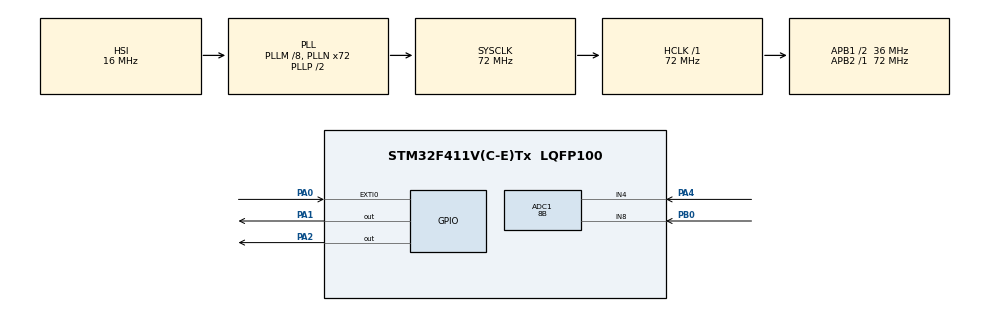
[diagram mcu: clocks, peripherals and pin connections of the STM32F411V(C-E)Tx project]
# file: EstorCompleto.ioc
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ADC1.Channel-0\#ChannelRegularConversion=ADC_CHANNEL_4
ADC1.Channel-1\#ChannelRegularConversion=ADC_CHANNEL_8
ADC1.ContinuousConvMode=ENABLE
ADC1.DMAContinuousRequests=ENABLE
ADC1.NbrOfConversion=2
ADC1.NbrOfConversionFlag=1
ADC1.Rank-0\#ChannelRegularConversion=1
ADC1.Rank-1\#ChannelRegularConversion=2
ADC1.Resolution=ADC_RESOLUTION_8B
ADC1.SamplingTime-0\#ChannelRegularConversion=ADC_SAMPLETIME_480CYCLES
ADC1.SamplingTime-1\#ChannelRegularConversion=ADC_SAMPLETIME_480CYCLES
ADC1.ScanConvMode=ENABLE
ADC1.master=1
Dma.ADC1.0.Direction=DMA_PERIPH_TO_MEMORY
Dma.ADC1.0.FIFOMode=DMA_FIFOMODE_DISABLE
Dma.ADC1.0.Instance=DMA2_Stream0
Dma.ADC1.0.MemDataAlignment=DMA_MDATAALIGN_WORD
Dma.ADC1.0.MemInc=DMA_MINC_ENABLE
Dma.ADC1.0.Mode=DMA_CIRCULAR
Dma.ADC1.0.PeriphDataAlignment=DMA_PDATAALIGN_WORD
Dma.ADC1.0.PeriphInc=DMA_PINC_DISABLE
Dma.ADC1.0.Priority=DMA_PRIORITY_LOW
Dma.Request0=ADC1
Mcu.Family=STM32F4
Mcu.Name=STM32F411V(C-E)Tx
Mcu.Package=LQFP100
NVIC.ADC_IRQn=true\:0\:0\:false\:false\:true\:true\:true\:true
NVIC.DMA2_Stream0_IRQn=true\:0\:0\:false\:false\:true\:false\:true\:true
NVIC.EXTI0_IRQn=true\:0\:0\:false\:false\:true\:true\:true\:true
NVIC.PriorityGroup=NVIC_PRIORITYGROUP_0
PA0-WKUP.Signal=GPXTI0
PA1.Signal=GPIO_Output
PA2.Signal=GPIO_Output
PA4.Signal=ADCx_IN4
PB0.Signal=ADCx_IN8
PH0\ -\ OSC_IN.Mode=HSE-External-Oscillator
PH0\ -\ OSC_IN.Signal=RCC_OSC_IN
PH1\ -\ OSC_OUT.Mode=HSE-External-Oscillator
PH1\ -\ OSC_OUT.Signal=RCC_OSC_OUT
ProjectManager.HeapSize=0x200
ProjectManager.StackSize=0x400
ProjectManager.TargetToolchain=STM32CubeIDE
RCC.48MHZClocksFreq_Value=18000000
RCC.AHBFreq_Value=72000000
RCC.APB1CLKDivider=RCC_HCLK_DIV2
RCC.APB1Freq_Value=36000000
RCC.APB1TimFreq_Value=72000000
RCC.APB2Freq_Value=72000000
RCC.APB2TimFreq_Value=72000000
RCC.CortexFreq_Value=72000000
RCC.HCLKFreq_Value=72000000
RCC.HSE_VALUE=8000000
RCC.HSI_VALUE=16000000
RCC.LSE_VALUE=32768
RCC.PLLI2SM=5
RCC.PLLI2SN=200
RCC.PLLM=8
RCC.PLLN=72
RCC.PLLQ=8
RCC.SYSCLKFreq_VALUE=72000000
RCC.SYSCLKSource=RCC_SYSCLKSOURCE_PLLCLK
RCC.VCOOutputFreq_Value=144000000
SH.ADCx_IN4.0=ADC1_IN4,IN4
SH.ADCx_IN8.0=ADC1_IN8,IN8
TIM1.Period=50
TIM1.Prescaler=71
VP_TIM1_VS_ClockSourceINT.Mode=Internal
board=STM32F411E-DISCO

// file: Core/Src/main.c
/* USER CODE BEGIN Header */
/**
  ******************************************************************************
  * @file           : main.c
  * @brief          : Main program body
  ******************************************************************************
  * @attention
  *
  * Copyright (c) 2023 STMicroelectronics.
  * All rights reserved.
  *
  * This software is licensed under terms that can be found in the LICENSE file
  * in the root directory of this software component.
  * If no LICENSE file comes with this software, it is provided AS-IS.
  *
  ******************************************************************************
  */
/* USER CODE END Header */
#include "main.h"

ADC_HandleTypeDef hadc1;
DMA_HandleTypeDef hdma_adc1;

TIM_HandleTypeDef htim1;

void SystemClock_Config(void);
static void MX_GPIO_Init(void);
static void MX_DMA_Init(void);
static void MX_ADC1_Init(void);
static void MX_TIM1_Init(void);

/* USER CODE BEGIN 0 */
#define DIR_PIN GPIO_PIN_1
#define DIR_PORT GPIOA
#define STEP_PIN GPIO_PIN_2
#define STEP_PORT GPIOA

int32_t ADC_luz;
int32_t ADC_sharp;
int32_t ADC_potenciometro;

uint16_t y_recogido = 0; //posicion inicial
uint16_t y_extendido = 510; //maxima extension del estor
uint16_t max_potenciometro = 255;

volatile uint16_t y = 0;
volatile uint16_t posicion = 0;

volatile int button_int = 0;

uint32_t adcvalue[2], adcbuffer[2];

/*void microDelay (uint16_t delay)
{
  __HAL_TIM_SET_COUNTER(&htim1, 0);
  while (__HAL_TIM_GET_COUNTER(&htim1) < delay);
}*/

void step (int steps, uint8_t direction, uint16_t delay)
{
  int x;
  if (direction == 0)
    HAL_GPIO_WritePin(DIR_PORT, DIR_PIN, GPIO_PIN_SET);
  else
    HAL_GPIO_WritePin(DIR_PORT, DIR_PIN, GPIO_PIN_RESET);
  for(x=0; x<steps; x=x+1)
  {
    HAL_GPIO_WritePin(STEP_PORT, STEP_PIN, GPIO_PIN_SET);
    //microDelay(delay);
    HAL_Delay(delay);
    HAL_GPIO_WritePin(STEP_PORT, STEP_PIN, GPIO_PIN_RESET);
    //microDelay(delay);
    HAL_Delay(delay);
  }
}

int debouncer(volatile int* button_in, GPIO_TypeDef* GPIO_port, uint16_t GPIO_number){
	static uint8_t button_count=0;
	static int counter=0;

	if (*button_in==1){
		if (button_count==0) {
			counter=HAL_GetTick();
			button_count++;
		}
		if (HAL_GetTick()-counter>=20){
			counter=HAL_GetTick();
			if (HAL_GPIO_ReadPin(GPIO_port, GPIO_number)!=1){
				button_count=1;
			}
			else{
				button_count++;
			}
			if (button_count==4){ //Periodo antirebotes
				button_count=0;
				*button_in=0;
				return 1;
			}
		}
	}
	return 0;
}

int getPotenciometro(uint16_t pot){
	int altura, tramo;
	altura = (int)(pot * y_extendido) / max_potenciometro ;
	tramo = altura/51; //tramos de 17
	altura = tramo * 51;
	return altura;
}

void HAL_ADC_ConvCpltCallback (ADC_HandleTypeDef * hadc){

	if (hadc->Instance == ADC1){
		adcvalue[0]=adcbuffer[0];
		adcvalue[1]=adcbuffer[1];
  	  	ADC_luz = adcvalue[0];
  	  	ADC_potenciometro = adcvalue[1];
  	  	y = getPotenciometro(ADC_potenciometro);
	}
}

void HAL_GPIO_EXTI_Callback(uint16_t GPIO_Pin){

	if (GPIO_Pin==GPIO_PIN_0)
	{
		//if (debouncer(&button_int, GPIOA, GPIO_PIN_0)){
			button_int++;
		//}
	}
}
/* USER CODE END 0 */

int main(void)
{

  /* MCU Configuration--------------------------------------------------------*/

  /* Reset of all peripherals, Initializes the Flash interface and the Systick. */
  HAL_Init();

  /* Configure the system clock */
  SystemClock_Config();

  /* Initialize all configured peripherals */
  MX_GPIO_Init();
  MX_DMA_Init();
  MX_ADC1_Init();
  MX_TIM1_Init();
  /* USER CODE BEGIN 2 */
  HAL_ADC_Start_DMA(&hadc1, adcbuffer, 2);
  /* USER CODE END 2 */

  /* Infinite loop */
  /* USER CODE BEGIN WHILE */
  while (1)
  {
	  if (button_int % 2 == 0){
		  if (ADC_luz > 70){
		  	  	  		while (posicion < y_extendido){
		  	  	  			step(1, 0, 1); // 1 paso horario
		  	  	  			//HAL_Delay(10);
		  	  	  			posicion ++;
		  	  	  		}
		  	  	  	}
		  	  	  	else if (ADC_luz < 50) {
		  	  	  		while (posicion > y_recogido){
		  	  	  			step(1, 1, 1); // 1 paso antihorario
		  	  	  			//HAL_Delay(10);
		  	  	  			posicion --;
		  	  	  		}
		  	  	  	}
	  }
	  else if (button_int % 2 == 1){
		  	  if (y > posicion) {
		  		  while (posicion < y) {
		  			  step(1, 0, 1); // 1 paso horario
		  			  //HAL_Delay(10);
		  			  posicion++;
		  		  }
		  	  }
		  	  else if (y < posicion) {
		  		  while (posicion > y) {
		  			  step(1, 1, 1); // 1 paso antihorario
		  			  //HAL_Delay(10);
		  			  posicion--;
		  		  }
		  	  }
	  }

    /* USER CODE END WHILE */

  }
}

void SystemClock_Config(void)
{
  RCC_OscInitTypeDef RCC_OscInitStruct = {0};
  RCC_ClkInitTypeDef RCC_ClkInitStruct = {0};

  /** Configure the main internal regulator output voltage
  */
  __HAL_RCC_PWR_CLK_ENABLE();
  __HAL_PWR_VOLTAGESCALING_CONFIG(PWR_REGULATOR_VOLTAGE_SCALE1);

  /** Initializes the RCC Oscillators according to the specified parameters
  * in the RCC_OscInitTypeDef structure.
  */
  RCC_OscInitStruct.OscillatorType = RCC_OSCILLATORTYPE_HSI;
  RCC_OscInitStruct.HSIState = RCC_HSI_ON;
  RCC_OscInitStruct.HSICalibrationValue = RCC_HSICALIBRATION_DEFAULT;
  RCC_OscInitStruct.PLL.PLLState = RCC_PLL_ON;
  RCC_OscInitStruct.PLL.PLLSource = RCC_PLLSOURCE_HSI;
  RCC_OscInitStruct.PLL.PLLM = 8;
  RCC_OscInitStruct.PLL.PLLN = 72;
  RCC_OscInitStruct.PLL.PLLP = RCC_PLLP_DIV2;
  RCC_OscInitStruct.PLL.PLLQ = 8;
  if (HAL_RCC_OscConfig(&RCC_OscInitStruct) != HAL_OK)
  {
    Error_Handler();
  }

  /** Initializes the CPU, AHB and APB buses clocks
  */
  RCC_ClkInitStruct.ClockType = RCC_CLOCKTYPE_HCLK|RCC_CLOCKTYPE_SYSCLK
                              |RCC_CLOCKTYPE_PCLK1|RCC_CLOCKTYPE_PCLK2;
  RCC_ClkInitStruct.SYSCLKSource = RCC_SYSCLKSOURCE_PLLCLK;
  RCC_ClkInitStruct.AHBCLKDivider = RCC_SYSCLK_DIV1;
  RCC_ClkInitStruct.APB1CLKDivider = RCC_HCLK_DIV2;
  RCC_ClkInitStruct.APB2CLKDivider = RCC_HCLK_DIV1;

  if (HAL_RCC_ClockConfig(&RCC_ClkInitStruct, FLASH_LATENCY_2) != HAL_OK)
  {
    Error_Handler();
  }
}

static void MX_ADC1_Init(void)
{

  ADC_ChannelConfTypeDef sConfig = {0};

  /** Configure the global features of the ADC (Clock, Resolution, Data Alignment and number of conversion)
  */
  hadc1.Instance = ADC1;
  hadc1.Init.ClockPrescaler = ADC_CLOCK_SYNC_PCLK_DIV2;
  hadc1.Init.Resolution = ADC_RESOLUTION_8B;
  hadc1.Init.ScanConvMode = ENABLE;
  hadc1.Init.ContinuousConvMode = ENABLE;
  hadc1.Init.DiscontinuousConvMode = DISABLE;
  hadc1.Init.ExternalTrigConvEdge = ADC_EXTERNALTRIGCONVEDGE_NONE;
  hadc1.Init.ExternalTrigConv = ADC_SOFTWARE_START;
  hadc1.Init.DataAlign = ADC_DATAALIGN_RIGHT;
  hadc1.Init.NbrOfConversion = 2;
  hadc1.Init.DMAContinuousRequests = ENABLE;
  hadc1.Init.EOCSelection = ADC_EOC_SINGLE_CONV;
  if (HAL_ADC_Init(&hadc1) != HAL_OK)
  {
    Error_Handler();
  }

  /** Configure for the selected ADC regular channel its corresponding rank in the sequencer and its sample time.
  */
  sConfig.Channel = ADC_CHANNEL_4;
  sConfig.Rank = 1;
  sConfig.SamplingTime = ADC_SAMPLETIME_480CYCLES;
  if (HAL_ADC_ConfigChannel(&hadc1, &sConfig) != HAL_OK)
  {
    Error_Handler();
  }

  /** Configure for the selected ADC regular channel its corresponding rank in the sequencer and its sample time.
  */
  sConfig.Channel = ADC_CHANNEL_8;
  sConfig.Rank = 2;
  if (HAL_ADC_ConfigChannel(&hadc1, &sConfig) != HAL_OK)
  {
    Error_Handler();
  }
  /* USER CODE BEGIN ADC1_Init 2 */
  //HAL_ADC_Start_DMA(&hadc1, adcbuffer, 2);
  /* USER CODE END ADC1_Init 2 */

}

static void MX_TIM1_Init(void)
{

  TIM_ClockConfigTypeDef sClockSourceConfig = {0};
  TIM_MasterConfigTypeDef sMasterConfig = {0};

  htim1.Instance = TIM1;
  htim1.Init.Prescaler = 71;
  htim1.Init.CounterMode = TIM_COUNTERMODE_UP;
  htim1.Init.Period = 50;
  htim1.Init.ClockDivision = TIM_CLOCKDIVISION_DIV1;
  htim1.Init.RepetitionCounter = 0;
  htim1.Init.AutoReloadPreload = TIM_AUTORELOAD_PRELOAD_DISABLE;
  if (HAL_TIM_Base_Init(&htim1) != HAL_OK)
  {
    Error_Handler();
  }
  sClockSourceConfig.ClockSource = TIM_CLOCKSOURCE_INTERNAL;
  if (HAL_TIM_ConfigClockSource(&htim1, &sClockSourceConfig) != HAL_OK)
  {
    Error_Handler();
  }
  sMasterConfig.MasterOutputTrigger = TIM_TRGO_RESET;
  sMasterConfig.MasterSlaveMode = TIM_MASTERSLAVEMODE_DISABLE;
  if (HAL_TIMEx_MasterConfigSynchronization(&htim1, &sMasterConfig) != HAL_OK)
  {
    Error_Handler();
  }

}

static void MX_DMA_Init(void)
{

  /* DMA controller clock enable */
  __HAL_RCC_DMA2_CLK_ENABLE();

  /* DMA interrupt init */
  /* DMA2_Stream0_IRQn interrupt configuration */
  HAL_NVIC_SetPriority(DMA2_Stream0_IRQn, 0, 0);
  HAL_NVIC_EnableIRQ(DMA2_Stream0_IRQn);

}

static void MX_GPIO_Init(void)
{
  GPIO_InitTypeDef GPIO_InitStruct = {0};

  /* GPIO Ports Clock Enable */
  __HAL_RCC_GPIOH_CLK_ENABLE();
  __HAL_RCC_GPIOA_CLK_ENABLE();
  __HAL_RCC_GPIOB_CLK_ENABLE();

  /*Configure GPIO pin Output Level */
  HAL_GPIO_WritePin(GPIOA, GPIO_PIN_1|GPIO_PIN_2, GPIO_PIN_RESET);

  /*Configure GPIO pin : PA0 */
  GPIO_InitStruct.Pin = GPIO_PIN_0;
  GPIO_InitStruct.Mode = GPIO_MODE_IT_RISING;
  GPIO_InitStruct.Pull = GPIO_NOPULL;
  HAL_GPIO_Init(GPIOA, &GPIO_InitStruct);

  /*Configure GPIO pins : PA1 PA2 */
  GPIO_InitStruct.Pin = GPIO_PIN_1|GPIO_PIN_2;
  GPIO_InitStruct.Mode = GPIO_MODE_OUTPUT_PP;
  GPIO_InitStruct.Pull = GPIO_NOPULL;
  GPIO_InitStruct.Speed = GPIO_SPEED_FREQ_LOW;
  HAL_GPIO_Init(GPIOA, &GPIO_InitStruct);

  /* EXTI interrupt init*/
  HAL_NVIC_SetPriority(EXTI0_IRQn, 0, 0);
  HAL_NVIC_EnableIRQ(EXTI0_IRQn);

}

void Error_Handler(void)
{
  __disable_irq();
  while (1)
  {
  }
}
